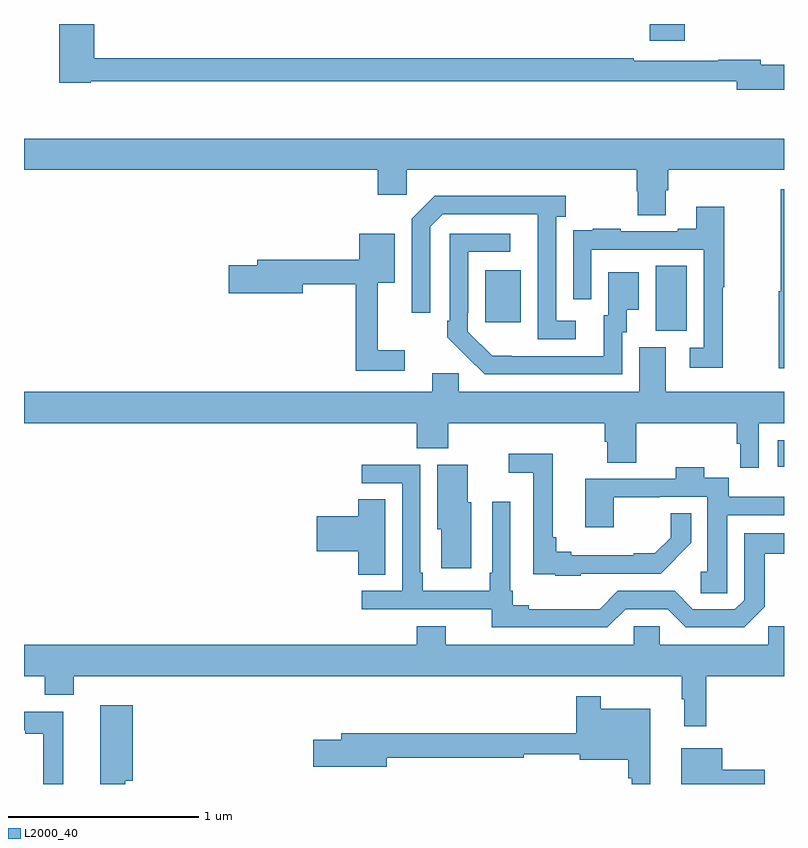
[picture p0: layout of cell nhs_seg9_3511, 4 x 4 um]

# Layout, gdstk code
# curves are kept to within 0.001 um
import gdstk
lib = gdstk.Library(unit=1e-6, precision=1e-09)
def R(c, l, rs):  # rectangles x0, y0, x1, y1
    for r in rs: c.add(gdstk.rectangle(r[:2], r[2:], *l))
def P(c, l, *ps):  # polygons
    for p in ps: c.add(gdstk.Polygon(p, *l))
L2000_40 = (2000, 40)

nhs_seg9_3511 = lib.new_cell('nhs_seg9_3511')
R(nhs_seg9_3511, L2000_40, [(314.967,1216.169,315,1216.309), (314.324,1216.885,314.488,1217.228), (313.427,1216.929,313.615,1217.203), (314.294,1218.411,314.477,1218.5)])
P(nhs_seg9_3511, L2000_40, [(315,1218.285),(314.878,1218.285),(314.878,1218.311),(314.654,1218.311),(314.654,1218.306),(314.21,1218.306),(314.21,1218.319),(311.369,1218.319),(311.369,1218.5),(311.186,1218.5),(311.186,1218.19),(311.352,1218.19),(311.352,1218.198),(314.75,1218.198),(314.75,1218.155),(315,1218.155)],
  [(314.377,1217.626),(314.39,1217.626),(314.39,1217.732),(315,1217.732),(315,1217.896),(311,1217.896),(311,1217.732),(312.863,1217.732),(312.863,1217.601),(313.014,1217.601),(313.014,1217.732),(314.225,1217.732),(314.225,1217.619),(314.23,1217.619),(314.23,1217.494),(314.377,1217.494)],
  [(315,1217.629),(314.983,1217.629),(314.983,1217.094),(314.972,1217.094),(314.972,1216.689),(315,1216.689)],
  [(313.903,1216.938),(313.8,1216.938),(313.8,1217.486),(313.852,1217.486),(313.852,1217.596),(313.162,1217.596),(313.041,1217.475),(313.041,1216.98),(313.137,1216.98),(313.137,1217.433),(313.203,1217.499),(313.703,1217.499),(313.704,1216.842),(313.903,1216.842)],
  [(314.678,1217.115),(314.686,1217.115),(314.686,1217.539),(314.537,1217.539),(314.537,1217.422),(314.441,1217.422),(314.441,1217.409),(314.141,1217.409),(314.141,1217.422),(313.993,1217.422),(313.993,1217.415),(313.891,1217.415),(313.891,1217.306),(313.89,1217.306),(313.89,1217.052),(313.986,1217.052),(313.986,1217.313),(314.577,1217.313),(314.577,1216.797),(314.505,1216.797),(314.505,1216.692),(314.678,1216.692)],
  [(314.148,1216.878),(314.173,1216.878),(314.173,1216.997),(314.236,1216.997),(314.236,1217.194),(314.075,1217.194),(314.075,1216.968),(314.051,1216.968),(314.051,1216.752),(313.464,1216.753),(313.335,1216.881),(313.335,1216.981),(313.338,1216.981),(313.338,1217.301),(313.558,1217.301),(313.558,1217.397),(313.242,1217.397),(313.242,1216.939),(313.227,1216.939),(313.227,1216.851),(313.424,1216.656),(314.148,1216.656)],
  [(313.003,1216.783),(312.863,1216.783),(312.863,1217.138),(312.952,1217.138),(312.952,1217.395),(312.764,1217.395),(312.764,1217.26),(312.227,1217.26),(312.227,1217.231),(312.078,1217.231),(312.078,1217.084),(312.466,1217.084),(312.466,1217.131),(312.745,1217.131),(312.745,1216.674),(313.003,1216.674)],
  [(314.868,1216.4),(315,1216.4),(315,1216.564),(314.377,1216.564),(314.377,1216.8),(314.237,1216.8),(314.237,1216.564),(313.287,1216.564),(313.287,1216.662),(313.148,1216.662),(313.148,1216.564),(311,1216.564),(311,1216.4),(313.067,1216.4),(313.067,1216.266),(313.232,1216.266),(313.232,1216.4),(314.057,1216.4),(314.057,1216.302),(314.069,1216.302),(314.069,1216.192),(314.222,1216.192),(314.222,1216.4),(314.752,1216.4),(314.752,1216.29),(314.771,1216.29),(314.771,1216.164),(314.868,1216.164)],
  [(313.929,1215.606),(314.35,1215.606),(314.429,1215.685),(314.428,1215.686),(314.512,1215.769),(314.512,1215.926),(314.403,1215.926),(314.403,1215.797),(314.319,1215.714),(314.21,1215.714),(314.21,1215.703),(313.879,1215.703),(313.879,1215.722),(313.801,1215.722),(313.801,1215.799),(313.783,1215.799),(313.783,1216.237),(313.551,1216.237),(313.551,1216.139),(313.679,1216.139),(313.679,1215.605),(313.797,1215.605),(313.797,1215.596),(313.929,1215.596)],
  [(313.354,1215.984),(313.336,1215.984),(313.336,1216.18),(313.175,1216.18),(313.175,1215.84),(313.196,1215.84),(313.196,1215.636),(313.354,1215.636)],
  [(314.166,1215.42),(314.388,1215.42),(314.484,1215.324),(314.79,1215.324),(314.899,1215.433),(314.899,1215.711),(315,1215.711),(315,1215.819),(314.79,1215.819),(314.79,1215.468),(314.742,1215.42),(314.52,1215.42),(314.424,1215.516),(314.124,1215.516),(314.029,1215.421),(313.657,1215.421),(313.657,1215.44),(313.573,1215.44),(313.573,1215.517),(313.56,1215.517),(313.56,1215.985),(313.464,1215.985),(313.464,1215.613),(313.452,1215.613),(313.452,1215.516),(313.099,1215.516),(313.099,1215.613),(313.086,1215.613),(313.086,1216.179),(312.777,1216.179),(312.777,1216.083),(312.99,1216.083),(312.99,1215.516),(312.777,1215.516),(312.777,1215.42),(313.462,1215.42),(313.462,1215.324),(314.07,1215.324)],
  [(314.7,1215.613),(314.701,1215.613),(314.701,1215.915),(315,1215.915),(315,1216.011),(314.979,1216.011),(314.979,1216.012),(314.71,1216.012),(314.71,1216.111),(314.581,1216.111),(314.581,1216.168),(314.429,1216.168),(314.429,1216.107),(313.955,1216.107),(313.955,1215.852),(314.103,1215.852),(314.103,1216.01),(314.345,1216.01),(314.345,1216.011),(314.597,1216.011),(314.597,1215.616),(314.562,1215.616),(314.562,1215.505),(314.7,1215.505)],
  [(312.901,1215.998),(312.758,1215.998),(312.758,1215.908),(312.54,1215.908),(312.54,1215.725),(312.758,1215.725),(312.758,1215.601),(312.901,1215.601)],
  [(314.591,1215.068),(315,1215.068),(315,1215.33),(314.917,1215.33),(314.917,1215.232),(314.346,1215.232),(314.346,1215.33),(314.208,1215.33),(314.208,1215.232),(313.219,1215.232),(313.219,1215.331),(313.067,1215.331),(313.067,1215.232),(311,1215.232),(311,1215.068),(311.108,1215.068),(311.108,1214.969),(311.261,1214.969),(311.261,1215.068),(314.463,1215.068),(314.463,1214.945),(314.474,1214.945),(314.474,1214.805),(314.591,1214.805)],
  [(314.296,1214.896),(314.035,1214.896),(314.035,1214.962),(313.906,1214.962),(313.906,1214.767),(312.671,1214.767),(312.671,1214.733),(312.522,1214.733),(312.522,1214.591),(312.91,1214.591),(312.91,1214.638),(313.629,1214.638),(313.629,1214.657),(313.925,1214.657),(313.925,1214.627),(314.179,1214.627),(314.179,1214.531),(314.199,1214.531),(314.199,1214.5),(314.296,1214.5)],
  [(311.534,1214.516),(311.573,1214.516),(311.573,1214.914),(311.402,1214.914),(311.402,1214.5),(311.534,1214.5)],
  [(311.206,1214.88),(311,1214.88),(311,1214.784),(311.006,1214.784),(311.006,1214.764),(311.102,1214.764),(311.102,1214.5),(311.206,1214.5)],
  [(314.899,1214.576),(314.674,1214.576),(314.674,1214.689),(314.459,1214.689),(314.459,1214.5),(314.899,1214.5)])

lib.write_gds('nhs_seg9_3511.gds')
